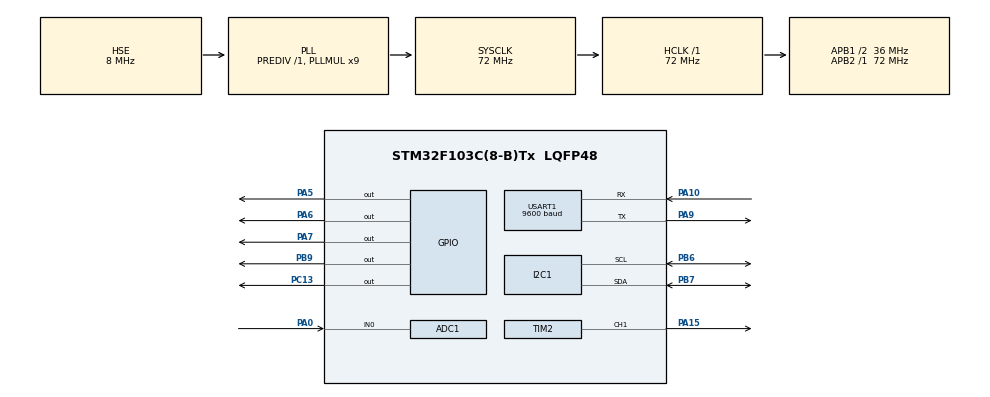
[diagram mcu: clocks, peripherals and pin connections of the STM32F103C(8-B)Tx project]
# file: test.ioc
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ADC1.Channel-0\#ChannelRegularConversion=ADC_CHANNEL_0
ADC1.NbrOfConversionFlag=1
ADC1.Rank-0\#ChannelRegularConversion=1
ADC1.SamplingTime-0\#ChannelRegularConversion=ADC_SAMPLETIME_1CYCLE_5
ADC1.master=1
FREERTOS.BinarySemaphores01=myBinarySem01,Dynamic,NULL,Available
FREERTOS.Queues01=myQueue01,14,uint32_t,0,Dynamic,NULL,NULL
FREERTOS.Tasks01=task01,0,128,StartTask01,Default,NULL,Dynamic,NULL,NULL
I2C1.I2C_Mode=I2C_Fast
Mcu.Family=STM32F1
Mcu.Name=STM32F103C(8-B)Tx
Mcu.Package=LQFP48
NVIC.PriorityGroup=NVIC_PRIORITYGROUP_4
PA0-WKUP.Signal=ADCx_IN0
PA10.Mode=Asynchronous
PA10.Signal=USART1_RX
PA13.Mode=Serial_Wire
PA13.Signal=SYS_JTMS-SWDIO
PA14.Mode=Serial_Wire
PA14.Signal=SYS_JTCK-SWCLK
PA15.Signal=S_TIM2_CH1_ETR
PA5.Signal=GPIO_Output
PA6.Signal=GPIO_Output
PA7.Signal=GPIO_Output
PA9.Mode=Asynchronous
PA9.Signal=USART1_TX
PB6.Mode=I2C
PB6.Signal=I2C1_SCL
PB7.Mode=I2C
PB7.Signal=I2C1_SDA
PB9.Signal=GPIO_Output
PC13-TAMPER-RTC.Signal=GPIO_Output
PD0-OSC_IN.Mode=HSE-External-Oscillator
PD0-OSC_IN.Signal=RCC_OSC_IN
PD1-OSC_OUT.Mode=HSE-External-Oscillator
PD1-OSC_OUT.Signal=RCC_OSC_OUT
ProjectManager.HeapSize=0x200
ProjectManager.StackSize=0x400
ProjectManager.TargetToolchain=MDK-ARM V5.32
RCC.ADCPresc=RCC_ADCPCLK2_DIV6
RCC.AHBFreq_Value=72000000
RCC.APB1CLKDivider=RCC_HCLK_DIV2
RCC.APB1Freq_Value=36000000
RCC.APB1TimFreq_Value=72000000
RCC.APB2Freq_Value=72000000
RCC.APB2TimFreq_Value=72000000
RCC.HCLKFreq_Value=72000000
RCC.PLLMUL=RCC_PLL_MUL9
RCC.PLLSourceVirtual=RCC_PLLSOURCE_HSE
RCC.SYSCLKFreq_VALUE=72000000
RCC.SYSCLKSource=RCC_SYSCLKSOURCE_PLLCLK
RCC.USBFreq_Value=72000000
SH.ADCx_IN0.0=ADC1_IN0,IN0
SH.S_TIM2_CH1_ETR.0=TIM2_CH1,PWM Generation1 CH1
TIM1.Prescaler=71
TIM2.Channel-PWM\ Generation1\ CH1=TIM_CHANNEL_1
TIM2.Period=999
TIM2.Prescaler=71
USART1.BaudRate=9600
USART1.VirtualMode=VM_ASYNC
VP_FREERTOS_VS_CMSIS_V1.Mode=CMSIS_V1
VP_TIM1_VS_ClockSourceINT.Mode=Internal
VP_TIM2_VS_ClockSourceINT.Mode=Internal
board=custom

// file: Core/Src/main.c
/* USER CODE BEGIN Header */
/**
  ******************************************************************************
  * @file           : main.c
  * @brief          : Main program body
  ******************************************************************************
  * @attention
  *
  * Copyright (c) 2026 STMicroelectronics.
  * All rights reserved.
  *
  * This software is licensed under terms that can be found in the LICENSE file
  * in the root directory of this software component.
  * If no LICENSE file comes with this software, it is provided AS-IS.
  *
  ******************************************************************************
  */
/* USER CODE END Header */
#include "main.h"
#include "cmsis_os.h"

/* USER CODE BEGIN Includes */
#include "dht11.h"
#include "lorasendvalue.h"
#include "ssd1306.h"
#include "fonts.h"
#include <stdio.h>
#include <string.h>
#include "MQ2.h"
/* USER CODE END Includes */

/* USER CODE BEGIN PTD */

typedef struct {
    float temp;
    float hum;
    float gas;
		uint8_t tt;
} SENSOR_DATA;
/* USER CODE END PTD */

ADC_HandleTypeDef hadc1;

I2C_HandleTypeDef hi2c1;

TIM_HandleTypeDef htim1;
TIM_HandleTypeDef htim2;

UART_HandleTypeDef huart1;

osThreadId task01Handle;
osMessageQId myQueue01Handle;
//osSemaphoreId myBinarySem01Handle;
osMutexId myMutexHandle;
/* USER CODE BEGIN PV */
osThreadId task02Handle;
osThreadId task03Handle;
osThreadId task04Handle;
osThreadId task05Handle;
osMessageQId myQueue02Handle;
osMessageQId myQueue03Handle;
MQ2_Typedef mq2;
SENSOR_DATA g_sensor_data;  // ? Thêm dòng này

/* USER CODE END PV */

void SystemClock_Config(void);
static void MX_GPIO_Init(void);
static void MX_ADC1_Init(void);
static void MX_I2C1_Init(void);
static void MX_TIM2_Init(void);
static void MX_USART1_UART_Init(void);
static void MX_TIM1_Init(void);
void StartTask01(void const * argument);

/* USER CODE BEGIN PFP */
void StartTask02(void const * argument);
void StartTask03(void const * argument);
void StartTask04(void const * argument);
void StartTask05(void const * argument);
/* USER CODE END PFP */

int main(void)
{

  /* MCU Configuration--------------------------------------------------------*/

  /* Reset of all peripherals, Initializes the Flash interface and the Systick. */
  HAL_Init();

  /* Configure the system clock */
  SystemClock_Config();

  /* Initialize all configured peripherals */
  MX_GPIO_Init();
  MX_ADC1_Init();
  MX_I2C1_Init();
  MX_TIM2_Init();
  MX_USART1_UART_Init();
  MX_TIM1_Init();
  /* USER CODE BEGIN 2 */
HAL_TIM_Base_Start(&htim1);
SSD1306_Init();
HAL_TIM_PWM_Start(&htim2, TIM_CHANNEL_1);
  /* USER CODE END 2 */

  /* Create the semaphores(s) */
  /* definition and creation of myBinarySem01 */
  //osSemaphoreDef(myBinarySem01);
  //myBinarySem01Handle = osSemaphoreCreate(osSemaphore(myBinarySem01), 1);
		osMutexDef(myMutex);
		myMutexHandle=osMutexCreate(osMutex(myMutex));

  /* Create the queue(s) */
  /* definition and creation of myQueue01 */
	osMessageQDef(myQueue01, 10, uint32_t);
	myQueue01Handle = osMessageCreate(osMessageQ(myQueue01), NULL);

  /* USER CODE BEGIN RTOS_QUEUES */
	osMessageQDef(myQueue02, 10, uint32_t);
	myQueue02Handle = osMessageCreate(osMessageQ(myQueue02), NULL);

		osMessageQDef(myQueue03, 10, uint32_t);
	myQueue03Handle = osMessageCreate(osMessageQ(myQueue03), NULL);
  /* add queues, ... */
  /* USER CODE END RTOS_QUEUES */

  /* Create the thread(s) */
  /* definition and creation of task01 */
  osThreadDef(task01, StartTask01, osPriorityNormal, 0, 512);
  task01Handle = osThreadCreate(osThread(task01), NULL);

  /* USER CODE BEGIN RTOS_THREADS */
	 osThreadDef(task02, StartTask02, osPriorityNormal, 0, 512);
  task02Handle = osThreadCreate(osThread(task02), NULL);

	 osThreadDef(task03, StartTask03, osPriorityNormal, 0, 256);
  task03Handle = osThreadCreate(osThread(task03), NULL);

	 osThreadDef(task04, StartTask04, osPriorityNormal, 0, 512);
  task04Handle = osThreadCreate(osThread(task04), NULL);
  /* add threads, ... */
	osThreadDef(task05, StartTask05, osPriorityAboveNormal, 0, 256);
	task05Handle = osThreadCreate(osThread(task05), NULL);
  /* USER CODE END RTOS_THREADS */

  /* Start scheduler */
  osKernelStart();

  /* We should never get here as control is now taken by the scheduler */

  /* Infinite loop */
  while (1)
  {

    /* USER CODE BEGIN 3 */
//					static uint32_t previousTick = 0;
//    if (HAL_GetTick() - previousTick >= 100)
//		{ // Neu du 100ms
//        previousTick = HAL_GetTick();
//        DHT11_GetData();
//			mq2_handle(&mq2);
//				SSD1306_GotoXY(0, 0);
//    snprintf(buff, sizeof(buff), "temp:%.2f hum:%.2f", tCelsius,RH);
//		   SSD1306_Puts(buff, &Font_7x10, SSD1306_COLOR_WHITE);
//							SSD1306_GotoXY(0, 50);
//			snprintf(buff, sizeof(buff), "ppm:%.2f", mq2.ppm_value);
//		   SSD1306_Puts(buff, &Font_7x10, SSD1306_COLOR_WHITE);
//		SSD1306_UpdateScreen();
//    }
//			static uint32_t send_delay_time = 0;
//    if (HAL_GetTick() - send_delay_time >200)
//		{
//       send_delay_time = HAL_GetTick();
//	//		for( int i = 0; i<5; i++)
//	//		{
//			  lora_send_sensor_value(&huart1, tCelsius, RH, mq2.ppm_value);
//
//	//		}
//    }
//		if(mq2.ppm_value > 700 || tCelsius > 50 || RH > 85)
//				{
//						// NGUY HIEM
//					HAL_GPIO_WritePin(GPIOA, GPIO_PIN_5, GPIO_PIN_RESET);
//					HAL_GPIO_WritePin(GPIOA, GPIO_PIN_6, GPIO_PIN_RESET);
//					HAL_GPIO_WritePin(GPIOA, GPIO_PIN_7, GPIO_PIN_SET);
//					 __HAL_TIM_SET_COMPARE(&htim2, TIM_CHANNEL_1, 500);
//				}
//				else if(mq2.ppm_value > 300 || tCelsius > 35 || RH > 70)
//				{
//						// CANH BAO
//					HAL_GPIO_WritePin(GPIOA, GPIO_PIN_5, GPIO_PIN_RESET);
//					HAL_GPIO_WritePin(GPIOA, GPIO_PIN_6, GPIO_PIN_SET);
//					HAL_GPIO_WritePin(GPIOA, GPIO_PIN_7, GPIO_PIN_RESET);
//					__HAL_TIM_SET_COMPARE(&htim2, TIM_CHANNEL_1, 0);
//				}
//				else
//				{
//						// AN TOAN
//					 __HAL_TIM_SET_COMPARE(&htim2, TIM_CHANNEL_1, 0);
//					HAL_GPIO_WritePin(GPIOA, GPIO_PIN_5, GPIO_PIN_SET);
//					HAL_GPIO_WritePin(GPIOA, GPIO_PIN_6, GPIO_PIN_RESET);
//					HAL_GPIO_WritePin(GPIOA, GPIO_PIN_7, GPIO_PIN_RESET);
//
//				}
  }
  /* USER CODE END 3 */
}

void SystemClock_Config(void)
{
  RCC_OscInitTypeDef RCC_OscInitStruct = {0};
  RCC_ClkInitTypeDef RCC_ClkInitStruct = {0};
  RCC_PeriphCLKInitTypeDef PeriphClkInit = {0};

  /** Initializes the RCC Oscillators according to the specified parameters
  * in the RCC_OscInitTypeDef structure.
  */
  RCC_OscInitStruct.OscillatorType = RCC_OSCILLATORTYPE_HSE;
  RCC_OscInitStruct.HSEState = RCC_HSE_ON;
  RCC_OscInitStruct.HSEPredivValue = RCC_HSE_PREDIV_DIV1;
  RCC_OscInitStruct.HSIState = RCC_HSI_ON;
  RCC_OscInitStruct.PLL.PLLState = RCC_PLL_ON;
  RCC_OscInitStruct.PLL.PLLSource = RCC_PLLSOURCE_HSE;
  RCC_OscInitStruct.PLL.PLLMUL = RCC_PLL_MUL9;
  if (HAL_RCC_OscConfig(&RCC_OscInitStruct) != HAL_OK)
  {
    Error_Handler();
  }

  /** Initializes the CPU, AHB and APB buses clocks
  */
  RCC_ClkInitStruct.ClockType = RCC_CLOCKTYPE_HCLK|RCC_CLOCKTYPE_SYSCLK
                              |RCC_CLOCKTYPE_PCLK1|RCC_CLOCKTYPE_PCLK2;
  RCC_ClkInitStruct.SYSCLKSource = RCC_SYSCLKSOURCE_PLLCLK;
  RCC_ClkInitStruct.AHBCLKDivider = RCC_SYSCLK_DIV1;
  RCC_ClkInitStruct.APB1CLKDivider = RCC_HCLK_DIV2;
  RCC_ClkInitStruct.APB2CLKDivider = RCC_HCLK_DIV1;

  if (HAL_RCC_ClockConfig(&RCC_ClkInitStruct, FLASH_LATENCY_2) != HAL_OK)
  {
    Error_Handler();
  }
  PeriphClkInit.PeriphClockSelection = RCC_PERIPHCLK_ADC;
  PeriphClkInit.AdcClockSelection = RCC_ADCPCLK2_DIV6;
  if (HAL_RCCEx_PeriphCLKConfig(&PeriphClkInit) != HAL_OK)
  {
    Error_Handler();
  }
}

static void MX_ADC1_Init(void)
{

  ADC_ChannelConfTypeDef sConfig = {0};

  /** Common config
  */
  hadc1.Instance = ADC1;
  hadc1.Init.ScanConvMode = ADC_SCAN_DISABLE;
  hadc1.Init.ContinuousConvMode = DISABLE;
  hadc1.Init.DiscontinuousConvMode = DISABLE;
  hadc1.Init.ExternalTrigConv = ADC_SOFTWARE_START;
  hadc1.Init.DataAlign = ADC_DATAALIGN_RIGHT;
  hadc1.Init.NbrOfConversion = 1;
  if (HAL_ADC_Init(&hadc1) != HAL_OK)
  {
    Error_Handler();
  }

  /** Configure Regular Channel
  */
  sConfig.Channel = ADC_CHANNEL_0;
  sConfig.Rank = ADC_REGULAR_RANK_1;
  sConfig.SamplingTime = ADC_SAMPLETIME_1CYCLE_5;
  if (HAL_ADC_ConfigChannel(&hadc1, &sConfig) != HAL_OK)
  {
    Error_Handler();
  }

}

static void MX_I2C1_Init(void)
{

  hi2c1.Instance = I2C1;
  hi2c1.Init.ClockSpeed = 400000;
  hi2c1.Init.DutyCycle = I2C_DUTYCYCLE_2;
  hi2c1.Init.OwnAddress1 = 0;
  hi2c1.Init.AddressingMode = I2C_ADDRESSINGMODE_7BIT;
  hi2c1.Init.DualAddressMode = I2C_DUALADDRESS_DISABLE;
  hi2c1.Init.OwnAddress2 = 0;
  hi2c1.Init.GeneralCallMode = I2C_GENERALCALL_DISABLE;
  hi2c1.Init.NoStretchMode = I2C_NOSTRETCH_DISABLE;
  if (HAL_I2C_Init(&hi2c1) != HAL_OK)
  {
    Error_Handler();
  }

}

static void MX_TIM1_Init(void)
{

  TIM_ClockConfigTypeDef sClockSourceConfig = {0};
  TIM_MasterConfigTypeDef sMasterConfig = {0};

  htim1.Instance = TIM1;
  htim1.Init.Prescaler = 71;
  htim1.Init.CounterMode = TIM_COUNTERMODE_UP;
  htim1.Init.Period = 65535;
  htim1.Init.ClockDivision = TIM_CLOCKDIVISION_DIV1;
  htim1.Init.RepetitionCounter = 0;
  htim1.Init.AutoReloadPreload = TIM_AUTORELOAD_PRELOAD_DISABLE;
  if (HAL_TIM_Base_Init(&htim1) != HAL_OK)
  {
    Error_Handler();
  }
  sClockSourceConfig.ClockSource = TIM_CLOCKSOURCE_INTERNAL;
  if (HAL_TIM_ConfigClockSource(&htim1, &sClockSourceConfig) != HAL_OK)
  {
    Error_Handler();
  }
  sMasterConfig.MasterOutputTrigger = TIM_TRGO_RESET;
  sMasterConfig.MasterSlaveMode = TIM_MASTERSLAVEMODE_DISABLE;
  if (HAL_TIMEx_MasterConfigSynchronization(&htim1, &sMasterConfig) != HAL_OK)
  {
    Error_Handler();
  }

}

static void MX_TIM2_Init(void)
{

  TIM_ClockConfigTypeDef sClockSourceConfig = {0};
  TIM_MasterConfigTypeDef sMasterConfig = {0};
  TIM_OC_InitTypeDef sConfigOC = {0};

  htim2.Instance = TIM2;
  htim2.Init.Prescaler = 71;
  htim2.Init.CounterMode = TIM_COUNTERMODE_UP;
  htim2.Init.Period = 999;
  htim2.Init.ClockDivision = TIM_CLOCKDIVISION_DIV1;
  htim2.Init.AutoReloadPreload = TIM_AUTORELOAD_PRELOAD_DISABLE;
  if (HAL_TIM_Base_Init(&htim2) != HAL_OK)
  {
    Error_Handler();
  }
  sClockSourceConfig.ClockSource = TIM_CLOCKSOURCE_INTERNAL;
  if (HAL_TIM_ConfigClockSource(&htim2, &sClockSourceConfig) != HAL_OK)
  {
    Error_Handler();
  }
  if (HAL_TIM_PWM_Init(&htim2) != HAL_OK)
  {
    Error_Handler();
  }
  sMasterConfig.MasterOutputTrigger = TIM_TRGO_RESET;
  sMasterConfig.MasterSlaveMode = TIM_MASTERSLAVEMODE_DISABLE;
  if (HAL_TIMEx_MasterConfigSynchronization(&htim2, &sMasterConfig) != HAL_OK)
  {
    Error_Handler();
  }
  sConfigOC.OCMode = TIM_OCMODE_PWM1;
  sConfigOC.Pulse = 0;
  sConfigOC.OCPolarity = TIM_OCPOLARITY_HIGH;
  sConfigOC.OCFastMode = TIM_OCFAST_DISABLE;
  if (HAL_TIM_PWM_ConfigChannel(&htim2, &sConfigOC, TIM_CHANNEL_1) != HAL_OK)
  {
    Error_Handler();
  }
  HAL_TIM_MspPostInit(&htim2);

}

static void MX_USART1_UART_Init(void)
{

  huart1.Instance = USART1;
  huart1.Init.BaudRate = 9600;
  huart1.Init.WordLength = UART_WORDLENGTH_8B;
  huart1.Init.StopBits = UART_STOPBITS_1;
  huart1.Init.Parity = UART_PARITY_NONE;
  huart1.Init.Mode = UART_MODE_TX_RX;
  huart1.Init.HwFlowCtl = UART_HWCONTROL_NONE;
  huart1.Init.OverSampling = UART_OVERSAMPLING_16;
  if (HAL_UART_Init(&huart1) != HAL_OK)
  {
    Error_Handler();
  }

}

static void MX_GPIO_Init(void)
{
  GPIO_InitTypeDef GPIO_InitStruct = {0};

  /* GPIO Ports Clock Enable */
  __HAL_RCC_GPIOC_CLK_ENABLE();
  __HAL_RCC_GPIOD_CLK_ENABLE();
  __HAL_RCC_GPIOA_CLK_ENABLE();
  __HAL_RCC_GPIOB_CLK_ENABLE();

  /*Configure GPIO pin Output Level */
  HAL_GPIO_WritePin(GPIOC, GPIO_PIN_13, GPIO_PIN_RESET);

  /*Configure GPIO pin Output Level */
  HAL_GPIO_WritePin(GPIOA, GPIO_PIN_5|GPIO_PIN_6|GPIO_PIN_7, GPIO_PIN_RESET);

  /*Configure GPIO pin Output Level */
  HAL_GPIO_WritePin(GPIOB, GPIO_PIN_9, GPIO_PIN_RESET);

  /*Configure GPIO pin : PC13 */
  GPIO_InitStruct.Pin = GPIO_PIN_13;
  GPIO_InitStruct.Mode = GPIO_MODE_OUTPUT_PP;
  GPIO_InitStruct.Pull = GPIO_NOPULL;
  GPIO_InitStruct.Speed = GPIO_SPEED_FREQ_LOW;
  HAL_GPIO_Init(GPIOC, &GPIO_InitStruct);

  /*Configure GPIO pins : PA5 PA6 PA7 */
  GPIO_InitStruct.Pin = GPIO_PIN_5|GPIO_PIN_6|GPIO_PIN_7;
  GPIO_InitStruct.Mode = GPIO_MODE_OUTPUT_PP;
  GPIO_InitStruct.Pull = GPIO_NOPULL;
  GPIO_InitStruct.Speed = GPIO_SPEED_FREQ_LOW;
  HAL_GPIO_Init(GPIOA, &GPIO_InitStruct);

  /*Configure GPIO pin : PB9 */
  GPIO_InitStruct.Pin = GPIO_PIN_9;
  GPIO_InitStruct.Mode = GPIO_MODE_OUTPUT_PP;
  GPIO_InitStruct.Pull = GPIO_NOPULL;
  GPIO_InitStruct.Speed = GPIO_SPEED_FREQ_LOW;
  HAL_GPIO_Init(GPIOB, &GPIO_InitStruct);

}

/* USER CODE BEGIN 4 */

void StartTask02(void const * argument)
{
    char buff[32];

    for(;;)
    {
        osEvent evt = osMessageGet(myQueue01Handle, osWaitForever);

        if(evt.status == osEventMessage)
        {
            osMutexWait(myMutexHandle, osWaitForever);
            float temp = g_sensor_data.temp;
            float hum  = g_sensor_data.hum;
            float gas  = g_sensor_data.gas;
						uint8_t tt = g_sensor_data.tt;
            osMutexRelease(myMutexHandle);

            SSD1306_Fill(SSD1306_COLOR_BLACK);

            SSD1306_GotoXY(0, 0);
            snprintf(buff, sizeof(buff), "Temp: %.1f C", temp);
            SSD1306_Puts(buff, &Font_7x10, SSD1306_COLOR_WHITE);

            SSD1306_GotoXY(0, 15);
            snprintf(buff, sizeof(buff), "Hum:  %.1f %%", hum);
            SSD1306_Puts(buff, &Font_7x10, SSD1306_COLOR_WHITE);

            SSD1306_GotoXY(0, 30);
            snprintf(buff, sizeof(buff), "PPM:  %.0f", gas);
            SSD1306_Puts(buff, &Font_7x10, SSD1306_COLOR_WHITE);

						SSD1306_GotoXY(0, 48);
						if(tt == 2)
								SSD1306_Puts("!! NGUY HIEM !!", &Font_7x10, SSD1306_COLOR_WHITE);
						else if(tt == 1)
								SSD1306_Puts("! CANH BAO !",    &Font_7x10, SSD1306_COLOR_WHITE);
						else
								SSD1306_Puts("AN TOAN",         &Font_7x10, SSD1306_COLOR_WHITE);

            SSD1306_UpdateScreen();
        }
    }
}
void StartTask03(void const * argument)
{
  /* USER CODE BEGIN 5 */
  /* Infinite loop */
  for(;;)
  {
			        DHT11_GetData();
		if(tCelsius > -50 && RH >= 0 && tCelsius < 80 && RH <= 100)
			{
						osMutexWait(myMutexHandle, osWaitForever);
            g_sensor_data.temp = tCelsius;
            g_sensor_data.hum  = RH;
            osMutexRelease(myMutexHandle);

				}
			 osDelay(1000);

  }

  /* USER CODE END 5 */
}
void StartTask04(void const * argument)
{
  /* USER CODE BEGIN 5 */

  /* Infinite loop */
  for(;;)
  {
    osEvent evt = osMessageGet(myQueue02Handle, osWaitForever);
		      if(evt.status == osEventMessage)
        {
            osMutexWait(myMutexHandle, osWaitForever);
            float temp = g_sensor_data.temp;
            float hum  = g_sensor_data.hum;
            float gas  = g_sensor_data.gas;
						uint8_t tt = g_sensor_data.tt;
            osMutexRelease(myMutexHandle);

           lora_send_sensor_value(&huart1,temp,hum,gas,tt);
        }
  }
  /* USER CODE END 5 */
}
void StartTask05(void const * argument)
{
    for(;;)
    {
        osEvent evt = osMessageGet(myQueue03Handle, osWaitForever);
        if(evt.status == osEventMessage)
        {
            osMutexWait(myMutexHandle, osWaitForever);
            float temp = g_sensor_data.temp;
            float hum  = g_sensor_data.hum;
            float gas  = g_sensor_data.gas;
            osMutexRelease(myMutexHandle);

            uint8_t new_tt;

            if(gas > 700 || temp > 50 || hum > 85)
            {
                // NGUY HIEM
                HAL_GPIO_WritePin(GPIOA, GPIO_PIN_5, GPIO_PIN_RESET);
                HAL_GPIO_WritePin(GPIOA, GPIO_PIN_6, GPIO_PIN_RESET);
                HAL_GPIO_WritePin(GPIOA, GPIO_PIN_7, GPIO_PIN_SET);
                __HAL_TIM_SET_COMPARE(&htim2, TIM_CHANNEL_1, 500);
                new_tt = 2;
            }
            else if(gas > 300 || temp > 35 || hum > 70)
            {
                // CANH BAO
                HAL_GPIO_WritePin(GPIOA, GPIO_PIN_5, GPIO_PIN_RESET);
                HAL_GPIO_WritePin(GPIOA, GPIO_PIN_6, GPIO_PIN_SET);
                HAL_GPIO_WritePin(GPIOA, GPIO_PIN_7, GPIO_PIN_RESET);
                __HAL_TIM_SET_COMPARE(&htim2, TIM_CHANNEL_1, 0);
                new_tt = 1;
            }
            else
            {
                // AN TOAN
                __HAL_TIM_SET_COMPARE(&htim2, TIM_CHANNEL_1, 0);
                HAL_GPIO_WritePin(GPIOA, GPIO_PIN_5, GPIO_PIN_SET);
                HAL_GPIO_WritePin(GPIOA, GPIO_PIN_6, GPIO_PIN_RESET);
                HAL_GPIO_WritePin(GPIOA, GPIO_PIN_7, GPIO_PIN_RESET);
                new_tt = 0;
            }

            // Ghi tt vào struct có mutex
            osMutexWait(myMutexHandle, osWaitForever);
            g_sensor_data.tt = new_tt;
            osMutexRelease(myMutexHandle);
						osMessagePut(myQueue01Handle, 1, 0);
						 osMessagePut(myQueue02Handle, 1, 0);
        }
    }
}
/* USER CODE END 4 */

void StartTask01(void const * argument)
{
    mq2_init(&mq2, &hadc1, ADC_CHANNEL_0);

    for(;;)
    {
        mq2_handle(&mq2);

        if(mq2.ready)
        {

            osMutexWait(myMutexHandle, osWaitForever);

            g_sensor_data.gas  = mq2.ppm_value;
            osMutexRelease(myMutexHandle);
						osMessagePut(myQueue03Handle, 1, 0);

        }

        osDelay(1500);
    }
}

void Error_Handler(void)
{
  __disable_irq();
  while (1)
  {
  }
}
